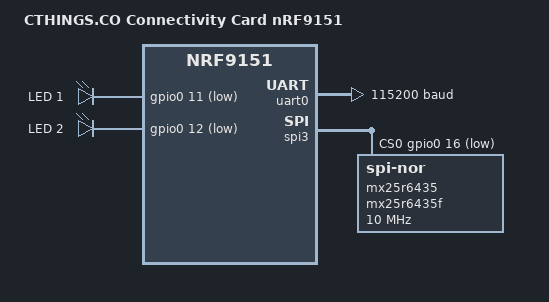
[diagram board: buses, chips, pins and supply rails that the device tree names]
/*
 * Copyright (c) 2024 CTHINGS.CO
 *
 * SPDX-License-Identifier: Apache-2.0
 */

#include "ctcc_nrf9151-pinctrl.dtsi"
#include <zephyr/dt-bindings/input/input-event-codes.h>

/ {
	model = "CTHINGS.CO Connectivity Card nRF9151";
	compatible = "ct,ctcc-nrf9151";

	chosen {
		zephyr,console = &uart0;
		zephyr,shell-uart = &uart0;
		zephyr,uart-mcumgr = &uart0;
	};

	leds {
		 compatible = "gpio-leds";
		 led1: led_1 {
			 gpios = <&gpio0 11 GPIO_ACTIVE_LOW>;
			 label = "LED 1";
		 };
		 led2: led_2 {
			 gpios = <&gpio0 12 GPIO_ACTIVE_LOW>;
			 label = "LED 2";
		 };
	};

	ctcc_wdisable: wdisable {
		compatible = "ct,ctcc-wdisable";
		status = "disabled";
		gpios = <&gpio0 2 GPIO_ACTIVE_LOW>;
	};

	aliases {
		led0 = &led1;
		led1 = &led2;
		mcuboot-led0 = &led1;
		bootloader-led0 = &led1;
		watchdog0 = &wdt0;
		spi-flash0 = &mx25r6435;
	};
};

&gpiote {
	status = "okay";
};

&gpio0 {
	status = "okay";
};

&uart0 {
	status = "okay";
	current-speed = <115200>;
	pinctrl-0 = <&uart0_default>;
	pinctrl-1 = <&uart0_sleep>;
	pinctrl-names = "default", "sleep";
};

&spi3 {
	compatible = "nordic,nrf-spim";
	status = "okay";
	cs-gpios = <&gpio0 16 GPIO_ACTIVE_LOW>;
	pinctrl-0 = <&spi3_default>;
	pinctrl-1 = <&spi3_sleep>;
	pinctrl-names = "default", "sleep";

	mx25r6435: mx25r6435f@0 {
		compatible = "jedec,spi-nor";
		status = "okay";
		reg = <0>;
		spi-max-frequency = <10000000>;
		jedec-id = [c2 28 17];
		size = <DT_SIZE_M(64)>;
		has-dpd;
		dpd-wakeup-sequence = <30000>, <20>, <30000>;
	};
};

&flash0 {
	partitions {
		compatible = "fixed-partitions";
		#address-cells = <1>;
		#size-cells = <1>;

		boot_partition: partition@0 {
			label = "mcuboot";
			reg = <0x00000000 0x10000>;
		};
		slot0_partition: partition@10000 {
			label = "image-0";
		};
		slot0_ns_partition: partition@50000 {
			label = "image-0-nonsecure";
		};
		slot1_partition: partition@85000 {
			label = "image-1";
		};
		slot1_ns_partition: partition@c5000 {
			label = "image-1-nonsecure";
		};
		storage_partition: partition@fa000 {
			label = "storage";
			reg = <0x000fa000 0x00006000>;
		};
	};
};

/ {

	reserved-memory {
		#address-cells = <1>;
		#size-cells = <1>;
		ranges;

		sram0_s: image_s@20000000 {
			/* Secure image memory */
		};

		sram0_modem: image_modem@20016000 {
			/* Modem (shared) memory */
		};

		sram0_ns: image_ns@20020000 {
			/* Non-Secure image memory */
		};
	};
};

/* Include partition configuration file */
#include "ctcc_nrf9151_partition_conf.dtsi"
